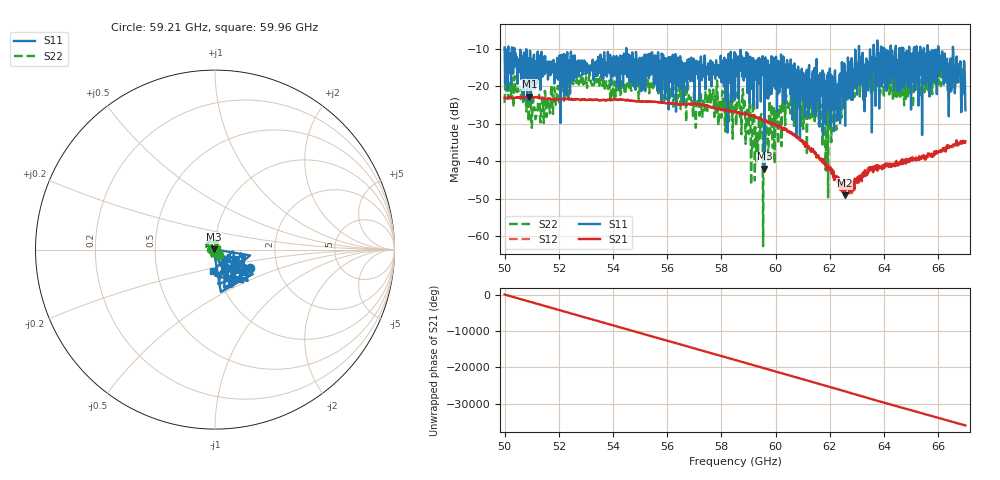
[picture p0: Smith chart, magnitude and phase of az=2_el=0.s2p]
!Created with skrf (http://scikit-rf.org).
# GHz S RI R 50.0
!freq ReS11 ImS11 ReS21 ImS21 ReS12 ImS12 ReS22 ImS22
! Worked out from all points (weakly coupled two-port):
!   1001 points, 50 GHz to 67 GHz, reference 50 ohm
!   highest |S21| = -22.75 dB at 50.92 GHz (marker M1); lowest = -49.1 dB at 62.55 GHz (marker M2)
!   lowest |S11| = -42.0 dB at 59.59 GHz (marker M3), VSWR 1.02, Z = 49.2 + j0.193 ohm
!   |S11| at or under -10 dB: 50.36 GHz to 54.49 GHz (4.13 GHz wide, 7.88 % of centre); 54.49 GHz to 63.07 GHz (8.582 GHz wide, 14.6 % of centre); 63.08 GHz to 63.61 GHz (536.5 MHz wide, 0.847 % of centre) (the widest 3 of 23)
!   |S22| runs from -62.7 to -13.8 dB; largest |S21 - S12| = 0.0022
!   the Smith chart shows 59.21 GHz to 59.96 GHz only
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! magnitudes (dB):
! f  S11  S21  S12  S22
! 50 GHz  -9.7  -23.0  -23.0  -24.4
! 50.42 GHz  -13.3  -23.0  -23.0  -22.2
! 50.92 GHz  -17.7  -22.7  -22.7  -24.4
! 52.84 GHz  -14.2  -23.5  -23.6  -19.0
! 55.68 GHz  -13.4  -24.2  -24.2  -21.9
! 56.99 GHz  -14.9  -24.5  -24.7  -21.5
! 58.5 GHz  -23.6  -26.7  -26.7  -24.2
! 59.59 GHz  -42.0  -29.2  -29.1  -29.5
! 59.84 GHz  -12.0  -29.9  -30.0  -25.4
! 60.03 GHz  -14.4  -30.5  -30.6  -30.8
! 60.34 GHz  -14.1  -31.6  -31.7  -25.4
! 61.34 GHz  -25.0  -36.6  -37.1  -26.0
! 61.88 GHz  -27.0  -41.9  -41.1  -23.1
! 62.55 GHz  -14.9  -49.1  -44.9  -19.3
! 63.01 GHz  -22.3  -45.8  -44.7  -20.1
! 63.33 GHz  -22.7  -43.9  -42.8  -19.2
! 63.69 GHz  -25.2  -42.0  -41.8  -16.4
! 64.18 GHz  -17.8  -41.6  -41.0  -18.4
! 66.08 GHz  -15.1  -37.2  -37.1  -15.5
! 66.42 GHz  -15.6  -36.3  -36.2  -16.3
! 66.75 GHz  -17.0  -35.7  -35.3  -18.6
! 67 GHz  -26.4  -34.7  -34.8  -15.9
